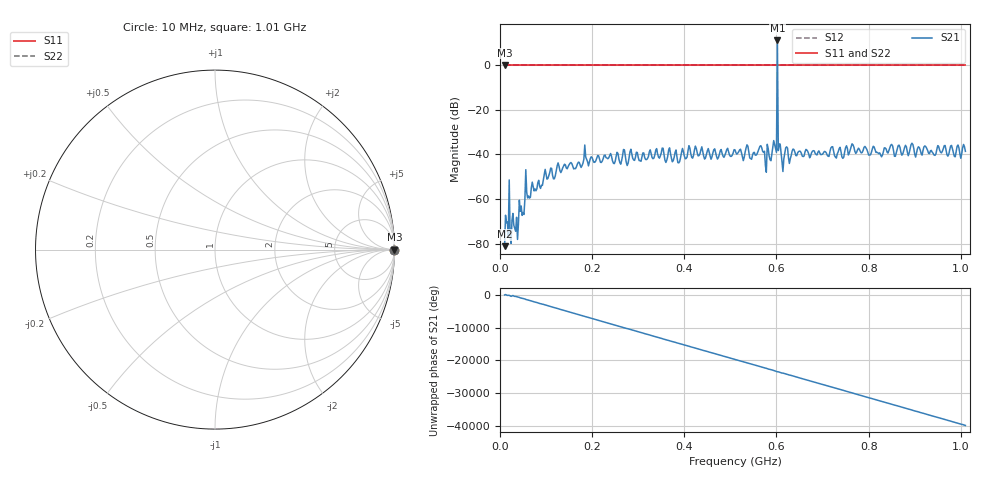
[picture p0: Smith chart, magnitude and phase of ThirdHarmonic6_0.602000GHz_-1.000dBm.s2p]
! 8/15/2025 7:40:03 PM
! C:\ANRITSUVNA\TEMP\TEMP.S2P
! CHANNEL.1
! TR.MEASUREMENT
! RAW.DATA
! RF.CORRECTION.OFF
! AVERAGING.OFF
! IF.BANDWIDTH: 5KHZ
! SWEEPTYPE:  FREQ.SWEEP(Linear)
! Reference Plane Port Info
! PORT:  PORT1  PORT2
! DISTANCE:  0  m  0  m
! TIME:  0  s  0  s
! PHASE.OFFSET:  0  deg.  0  deg.
! LOSS:  0  dB  0  dB
! REF.LOSS:  0  dB  0  dB
! REF.FREQ:  0  Hz  0  Hz
! Power Info
! POWER:  -20  dBm  -20  dBm
! EFF.POWER:  -20  dBm  -20  dBm
! SOURCE.ATTEN:  0  dB  0  dB
! TEST.ATTEN:  0  dB  0  dB
# GHZ S RI R 50.0
! FREQ.GHZ  S11RE  S11IM  S21RE  S21IM  S12RE  S12IM  S22RE  S22IM
!; PortSelection: Port_12
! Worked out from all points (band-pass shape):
!   501 points, 10 MHz to 1.01 GHz, reference 50 ohm
!   highest |S21| = 10.90 dB at 602 MHz (marker M1); lowest = -80.9 dB at 10 MHz (marker M2)
!   |S21| within 3 dB of the highest: 601.8798 MHz to 602.1221 MHz (242.2 kHz wide, 0.0402 % of centre)
!   lowest |S11| = 0.0 dB at 10 MHz (marker M3)
!   |S11| at or under -10 dB: nowhere
!   |S22| runs from 0.0 to 0.0 dB; largest |S21 - S12| = 3.2
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0.01  1 0  8.94e-05 9.6e-06  1 0  1 0
0.016  1 0  -0.000193 -0.000244  1 0  1 0
0.036  1 0  -0.000337 -0.000209  1 0  1 0
0.058  1 0  0.00139 -0.000242  1 0  1 0
0.126  1 0  -0.00318 0.00567  1 0  1 0
0.178  1 0  -0.00562 0.000487  1 0  1 0
0.186  1 0  -0.00837 -0.00279  1 0  1 0
0.344  1 0  0.00351 -0.00801  1 0  1 0
0.51  1 0  -0.00122 0.0126  1 0  1 0
0.546  1 0  -0.000316 0.00781  1 0  1 0
0.566  1 0  0.0156 0.00196  1 0  1 0
0.574  1 0  0.00782 0.00885  1 0  1 0
0.596  1 0  -0.0116 -0.0118  1 0  1 0
0.598  1 0  -0.0103 0.00873  1 0  1 0
0.602  1 0  1.585 -3.13  1 0  1 0
0.606  1 0  -0.0171 -0.00218  1 0  1 0
0.608  1 0  0.00146 0.017  1 0  1 0
0.614  1 0  -0.00166 -0.00383  1 0  1 0
0.622  1 0  -0.000599 -0.0148  1 0  1 0
0.678  1 0  -0.0118 0.000137  1 0  1 0
0.844  1 0  0.0113 -0.0049  1 0  1 0
1.01  1 0  0.00106 0.0117  1 0  1 0
